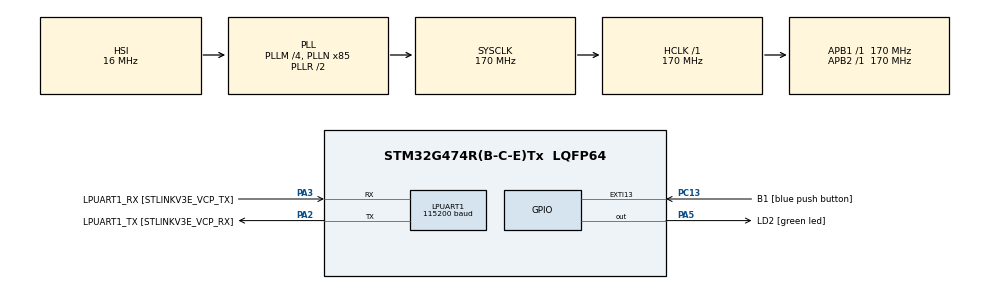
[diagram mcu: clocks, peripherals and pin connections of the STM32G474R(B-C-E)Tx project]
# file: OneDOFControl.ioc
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LPUART1.BaudRate=115200
LPUART1.WordLength=UART_WORDLENGTH_8B
Mcu.Family=STM32G4
Mcu.Name=STM32G474R(B-C-E)Tx
Mcu.Package=LQFP64
NVIC.EXTI15_10_IRQn=true\:0\:0\:false\:false\:true\:true\:true\:true
NVIC.PriorityGroup=NVIC_PRIORITYGROUP_4
PA13.GPIO_Label=T_SWDIO
PA13.Mode=Serial_Wire
PA13.Signal=SYS_JTMS-SWDIO
PA14.GPIO_Label=T_SWCLK
PA14.Mode=Serial_Wire
PA14.Signal=SYS_JTCK-SWCLK
PA2.GPIO_Label=LPUART1_TX [STLINKV3E_VCP_RX]
PA2.Mode=Asynchronous
PA2.Signal=LPUART1_TX
PA3.GPIO_Label=LPUART1_RX [STLINKV3E_VCP_TX]
PA3.Mode=Asynchronous
PA3.Signal=LPUART1_RX
PA5.GPIO_Label=LD2 [green led]
PA5.Signal=GPIO_Output
PB3.GPIO_Label=T_SWO
PB3.Signal=SYS_JTDO-SWO
PC13.GPIO_Label=B1 [blue push button]
PC13.Signal=GPXTI13
PC14-OSC32_IN.Mode=LSE-External-Oscillator
PC14-OSC32_IN.Signal=RCC_OSC32_IN
PC15-OSC32_OUT.Mode=LSE-External-Oscillator
PC15-OSC32_OUT.Signal=RCC_OSC32_OUT
PF0-OSC_IN.Mode=HSE-External-Oscillator
PF0-OSC_IN.Signal=RCC_OSC_IN
PF1-OSC_OUT.Mode=HSE-External-Oscillator
PF1-OSC_OUT.Signal=RCC_OSC_OUT
ProjectManager.HeapSize=0x200
ProjectManager.StackSize=0x400
ProjectManager.TargetToolchain=STM32CubeIDE
RCC.ADC12Freq_Value=170000000
RCC.ADC345Freq_Value=170000000
RCC.AHBFreq_Value=170000000
RCC.APB1Freq_Value=170000000
RCC.APB1TimFreq_Value=170000000
RCC.APB2Freq_Value=170000000
RCC.APB2TimFreq_Value=170000000
RCC.CortexFreq_Value=170000000
RCC.EXTERNAL_CLOCK_VALUE=12288000
RCC.HCLKFreq_Value=170000000
RCC.HSE_VALUE=24000000
RCC.HSI48_VALUE=48000000
RCC.HSI_VALUE=16000000
RCC.PLLM=RCC_PLLM_DIV4
RCC.PLLN=85
RCC.RTCClockSelection=RCC_RTCCLKSOURCE_LSE
RCC.SYSCLKFreq_VALUE=170000000
RCC.SYSCLKSource=RCC_SYSCLKSOURCE_PLLCLK
RCC.USBFreq_Value=170000000
RCC.VCOOutputFreq_Value=340000000
VP_SYS_VS_DBSignals.Mode=DisableDeadBatterySignals
board=NUCLEO-G474RE

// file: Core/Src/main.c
/* USER CODE BEGIN Header */
/**
  ******************************************************************************
  * @file           : main.c
  * @brief          : Main program body
  ******************************************************************************
  * @attention
  *
  * Copyright (c) 2024 STMicroelectronics.
  * All rights reserved.
  *
  * This software is licensed under terms that can be found in the LICENSE file
  * in the root directory of this software component.
  * If no LICENSE file comes with this software, it is provided AS-IS.
  *
  ******************************************************************************
  */
/* USER CODE END Header */
#include "main.h"

/* USER CODE BEGIN Includes */
#include <math.h>

/* USER CODE END Includes */

UART_HandleTypeDef hlpuart1;

/* USER CODE BEGIN PV */
float output;
float output_1;
float output_2;
float kp_Velo;
float ki_Velo;
float kd_Velo;
float T = 0.001;
float error_Velo;
float error_Velo_1;
float error_Velo_2;

float Pos_Start = 0;
float Pos_Target = 300;
float Old_Target = 300;
float Velo_Start = 0;
float Max_Velo = 400;
float Max_Acc = 500;
float t_Acc = 2;
float q_Pos,q_Velo,q_Acc,diff_Pos,t;
int state_Tra=0;
int direction = 1;
/* USER CODE END PV */

void SystemClock_Config(void);
static void MX_GPIO_Init(void);
static void MX_LPUART1_UART_Init(void);

int main(void)
{

  /* MCU Configuration--------------------------------------------------------*/

  /* Reset of all peripherals, Initializes the Flash interface and the Systick. */
  HAL_Init();

  /* Configure the system clock */
  SystemClock_Config();

  /* Initialize all configured peripherals */
  MX_GPIO_Init();
  MX_LPUART1_UART_Init();

  /* Infinite loop */
  while (1)
  {

    /* USER CODE BEGIN 3 */
	  static uint64_t timestamp =0;
	  if(timestamp < HAL_GetTick())
	  {
		  switch(state_Tra)
		  	  		  {
		  	  		  case 0:
		  	  			  if(Pos_Start > Pos_Target)
		  	  			  {
		  	  				  direction = -1;
		  	  			  }
		  	  			  else
		  	  			  {
		  	  				  direction = 1;
		  	  			  }
		  	  			  	q_Pos = Pos_Start + (Velo_Start*t)+((direction*0.5*Max_Acc)*(t*t));
		  	  			  	q_Velo = Velo_Start + direction*Max_Acc*t;
		  	  			  	q_Acc = Max_Acc*direction;
		  	  			  if(fabs(q_Velo) >= Max_Velo)
		  	  				{
		  	  					state_Tra = 1;
		  	  					Pos_Start = q_Pos;
		  	  					Velo_Start = q_Velo;
		  	  					t = 0;
		  	  				}
		  	  			  if(fabs((q_Pos-Pos_Start)*2) >= fabs(Pos_Target-Pos_Start))
		  	  			  {
		  	  				state_Tra = 2;
							Pos_Start = q_Pos;
							Velo_Start = q_Velo;
							t = 0;
		  	  			  }
		  	  			  	break;
		  	  		  case 1:
		  	  			  	q_Pos = Pos_Start +(Velo_Start*t);
		  	  			  	q_Velo = Velo_Start;
		  	  			  	q_Acc = 0;
		  	  			  if(Pos_Target-q_Pos <= (q_Velo*q_Velo)/(2*Max_Acc))
		  	  				{
		  	  					state_Tra = 2;
		  	  					Pos_Start = q_Pos;
		  	  					Velo_Start = q_Velo;
		  	  					t = 0;
		  	  				}
		  	  			  	break;
		  	  		  case 2:
		  	  			  	q_Pos = Pos_Start + (Velo_Start*t)-((direction*0.5*Max_Acc)*(t*t));
		  	  			  	q_Velo = Velo_Start - direction*Max_Acc*t;
		  	  			  	q_Acc = -direction*Max_Acc;
		  	  			  if(fabs(q_Velo) <= 0)
		  	  				{
		  	  					state_Tra = 3;
		  	  				}
		  	  			  	break;
		  	  		  case 3:
		  	  			  	if(Pos_Target != Old_Target)
		  	  			  	{
		  	  			  		state_Tra = 0;
		  	  			  		t = 0;
		  	  			  		Pos_Start = q_Pos;
		  	  			  		Velo_Start = q_Velo;
		  	  			  		Old_Target = Pos_Target;
		  	  			  	}
		  	  			  	break;
		  	  		  }
	  t = t+0.001;
	  timestamp = HAL_GetTick()+1;
	  }
//	  error_Velo =
//	  output = ((2*kp_Velo*T*error_Velo) - (2*kp_Velo*T-error_Velo_2) +(ki_Velo*T*T*error_Velo)+(2*ki_Velo*T*T*error_Velo_1)+(ki_Velo*T*T*error_Velo_2)+(4*kd_Velo*error_Velo)-(8*kd_Velo*error_Velo_1)-(4*kd_Velo*error_Velo_2)+(2*output_2*T))/(2*T);
  }
  /* USER CODE END 3 */
}

void SystemClock_Config(void)
{
  RCC_OscInitTypeDef RCC_OscInitStruct = {0};
  RCC_ClkInitTypeDef RCC_ClkInitStruct = {0};

  /** Configure the main internal regulator output voltage
  */
  HAL_PWREx_ControlVoltageScaling(PWR_REGULATOR_VOLTAGE_SCALE1_BOOST);

  /** Initializes the RCC Oscillators according to the specified parameters
  * in the RCC_OscInitTypeDef structure.
  */
  RCC_OscInitStruct.OscillatorType = RCC_OSCILLATORTYPE_HSI;
  RCC_OscInitStruct.HSIState = RCC_HSI_ON;
  RCC_OscInitStruct.HSICalibrationValue = RCC_HSICALIBRATION_DEFAULT;
  RCC_OscInitStruct.PLL.PLLState = RCC_PLL_ON;
  RCC_OscInitStruct.PLL.PLLSource = RCC_PLLSOURCE_HSI;
  RCC_OscInitStruct.PLL.PLLM = RCC_PLLM_DIV4;
  RCC_OscInitStruct.PLL.PLLN = 85;
  RCC_OscInitStruct.PLL.PLLP = RCC_PLLP_DIV2;
  RCC_OscInitStruct.PLL.PLLQ = RCC_PLLQ_DIV2;
  RCC_OscInitStruct.PLL.PLLR = RCC_PLLR_DIV2;
  if (HAL_RCC_OscConfig(&RCC_OscInitStruct) != HAL_OK)
  {
    Error_Handler();
  }

  /** Initializes the CPU, AHB and APB buses clocks
  */
  RCC_ClkInitStruct.ClockType = RCC_CLOCKTYPE_HCLK|RCC_CLOCKTYPE_SYSCLK
                              |RCC_CLOCKTYPE_PCLK1|RCC_CLOCKTYPE_PCLK2;
  RCC_ClkInitStruct.SYSCLKSource = RCC_SYSCLKSOURCE_PLLCLK;
  RCC_ClkInitStruct.AHBCLKDivider = RCC_SYSCLK_DIV1;
  RCC_ClkInitStruct.APB1CLKDivider = RCC_HCLK_DIV1;
  RCC_ClkInitStruct.APB2CLKDivider = RCC_HCLK_DIV1;

  if (HAL_RCC_ClockConfig(&RCC_ClkInitStruct, FLASH_LATENCY_4) != HAL_OK)
  {
    Error_Handler();
  }
}

static void MX_LPUART1_UART_Init(void)
{

  hlpuart1.Instance = LPUART1;
  hlpuart1.Init.BaudRate = 115200;
  hlpuart1.Init.WordLength = UART_WORDLENGTH_8B;
  hlpuart1.Init.StopBits = UART_STOPBITS_1;
  hlpuart1.Init.Parity = UART_PARITY_NONE;
  hlpuart1.Init.Mode = UART_MODE_TX_RX;
  hlpuart1.Init.HwFlowCtl = UART_HWCONTROL_NONE;
  hlpuart1.Init.OneBitSampling = UART_ONE_BIT_SAMPLE_DISABLE;
  hlpuart1.Init.ClockPrescaler = UART_PRESCALER_DIV1;
  hlpuart1.AdvancedInit.AdvFeatureInit = UART_ADVFEATURE_NO_INIT;
  if (HAL_UART_Init(&hlpuart1) != HAL_OK)
  {
    Error_Handler();
  }
  if (HAL_UARTEx_SetTxFifoThreshold(&hlpuart1, UART_TXFIFO_THRESHOLD_1_8) != HAL_OK)
  {
    Error_Handler();
  }
  if (HAL_UARTEx_SetRxFifoThreshold(&hlpuart1, UART_RXFIFO_THRESHOLD_1_8) != HAL_OK)
  {
    Error_Handler();
  }
  if (HAL_UARTEx_DisableFifoMode(&hlpuart1) != HAL_OK)
  {
    Error_Handler();
  }

}

static void MX_GPIO_Init(void)
{
  GPIO_InitTypeDef GPIO_InitStruct = {0};

  /* GPIO Ports Clock Enable */
  __HAL_RCC_GPIOC_CLK_ENABLE();
  __HAL_RCC_GPIOF_CLK_ENABLE();
  __HAL_RCC_GPIOA_CLK_ENABLE();
  __HAL_RCC_GPIOB_CLK_ENABLE();

  /*Configure GPIO pin Output Level */
  HAL_GPIO_WritePin(LD2_GPIO_Port, LD2_Pin, GPIO_PIN_RESET);

  /*Configure GPIO pin : B1_Pin */
  GPIO_InitStruct.Pin = B1_Pin;
  GPIO_InitStruct.Mode = GPIO_MODE_IT_RISING;
  GPIO_InitStruct.Pull = GPIO_NOPULL;
  HAL_GPIO_Init(B1_GPIO_Port, &GPIO_InitStruct);

  /*Configure GPIO pin : LD2_Pin */
  GPIO_InitStruct.Pin = LD2_Pin;
  GPIO_InitStruct.Mode = GPIO_MODE_OUTPUT_PP;
  GPIO_InitStruct.Pull = GPIO_NOPULL;
  GPIO_InitStruct.Speed = GPIO_SPEED_FREQ_LOW;
  HAL_GPIO_Init(LD2_GPIO_Port, &GPIO_InitStruct);

  /* EXTI interrupt init*/
  HAL_NVIC_SetPriority(EXTI15_10_IRQn, 0, 0);
  HAL_NVIC_EnableIRQ(EXTI15_10_IRQn);

}

void Error_Handler(void)
{
  __disable_irq();
  while (1)
  {
  }
}
